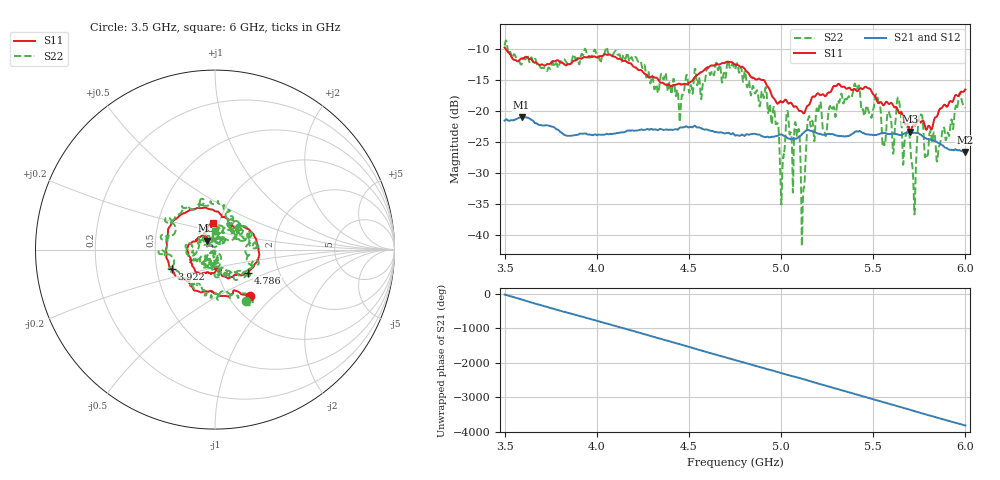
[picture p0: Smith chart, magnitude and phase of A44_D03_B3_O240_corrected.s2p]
! Created with skrf 1.9.0 (http://scikit-rf.org).
# Hz S RI R 50.0
!freq ReS11 ImS11 ReS21 ImS21 ReS12 ImS12 ReS22 ImS22
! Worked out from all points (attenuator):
!   1601 points, 3.5 GHz to 6 GHz, reference 50 ohm
!   highest |S21| = -21.01 dB at 3.592 GHz (marker M1); lowest = -26.6 dB at 5.997 GHz (marker M2)
!   lowest |S11| = -23.3 dB at 5.702 GHz (marker M3), VSWR 1.15, Z = 45.3 + j4.5 ohm
!   |S11| at or under -10 dB: 3.505 GHz to end of sweep
!   |S22| runs from -41.8 to -8.7 dB; largest |S21 - S12| = 0.00097
!   S11 on the Smith chart (normalised r, x): 3.5 GHz: 1.25, -0.72; 3.922 GHz: 0.60, -0.14; 4.786 GHz: 1.40, -0.38; 6 GHz: 0.94, +0.29
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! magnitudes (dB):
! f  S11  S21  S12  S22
! 3.5 GHz  -9.8  -21.6  -21.6  -9.5
! 3.592 GHz  -11.6  -21.0  -21.0  -12.5
! 3.917 GHz  -11.6  -23.7  -23.7  -10.8
! 3.922 GHz  -11.5  -23.7  -23.7  -10.9
! 4.334 GHz  -15.0  -23.1  -23.0  -17.0
! 4.75 GHz  -12.6  -24.0  -23.9  -13.4
! 4.786 GHz  -12.9  -23.8  -23.8  -13.4
! 4.969 GHz  -18.3  -24.1  -24.0  -21.6
! 5.005 GHz  -18.6  -23.8  -23.8  -31.3
! 5.033 GHz  -18.5  -24.4  -24.3  -20.0
! 5.088 GHz  -19.5  -24.4  -24.4  -24.0
! 5.119 GHz  -20.3  -23.6  -23.5  -34.0
! 5.167 GHz  -17.9  -23.3  -23.2  -21.7
! 5.409 GHz  -16.8  -23.3  -23.3  -16.4
! 5.558 GHz  -19.1  -23.6  -23.5  -25.1
! 5.584 GHz  -18.9  -23.7  -23.7  -20.1
! 5.702 GHz  -23.3  -23.5  -23.5  -25.8
! 5.72 GHz  -22.2  -23.5  -23.5  -33.5
! 5.755 GHz  -21.9  -23.8  -23.7  -20.5
! 5.852 GHz  -20.5  -25.1  -25.1  -26.9
! 5.997 GHz  -16.7  -26.6  -26.5  -19.3
! 6 GHz  -16.6  -26.6  -26.6  -19.6
